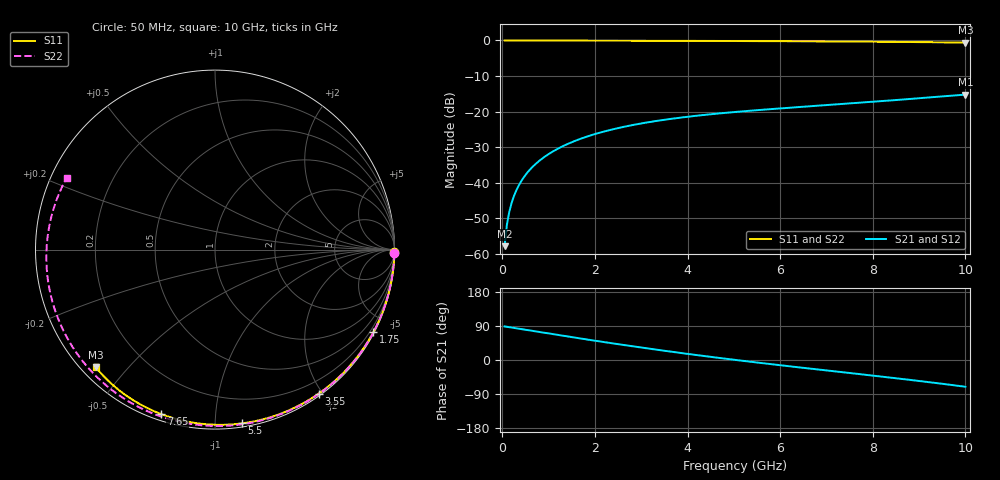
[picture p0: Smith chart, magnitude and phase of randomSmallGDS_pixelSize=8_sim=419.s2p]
! freq	dB(S11)	phase(S11)	dB(S12)	phase(S12)
!  dB(S21)	phase(S21)	dB(S22)	phase(S22)
!S-par simulation data
#  GHz  S  DB  R 50
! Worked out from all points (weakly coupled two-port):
!   200 points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, 50 MHz to 10 GHz, reference 50 ohm
!   highest |S21| = -15.22 dB at 10 GHz (marker M1); lowest = -57.8 dB at 50 MHz (marker M2)
!   lowest |S11| = -0.6 dB at 10 GHz (marker M3), VSWR 28.92, Z = 2.02 - j20.4 ohm
!   |S11| at or under -10 dB: nowhere
!   |S22| runs from -0.7 to 0.0 dB; largest |S21 - S12| = 0
!   S11 on the Smith chart (normalised r, x): 50 MHz: open; 1.75 GHz: 0.04, -4.09; 3.55 GHz: 0.03, -1.95; 5.5 GHz: 0.02, -1.17; 7.65 GHz: 0.03, -0.73; 10 GHz: 0.04, -0.41
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0.05  -0.00 -0.8  -57.80 88.6  -57.80 88.6  -0.00 -1.2
0.1  -0.00 -1.6  -51.73 87.6  -51.73 87.6  -0.00 -2.4
0.15  -0.00 -2.4  -48.20 86.7  -48.20 86.7  -0.00 -3.6
0.2  -0.00 -3.2  -45.70 85.8  -45.70 85.8  -0.01 -4.8
0.25  -0.01 -4.0  -43.77 84.8  -43.77 84.8  -0.01 -6.0
0.35  -0.01 -5.6  -40.87 82.9  -40.87 82.9  -0.01 -8.4
0.5  -0.01 -7.9  -37.81 79.8  -37.81 79.8  -0.02 -11.9
0.7  -0.02 -11.1  -34.94 75.8  -34.94 75.8  -0.02 -16.7
1  -0.02 -15.8  -31.93 69.9  -31.93 69.9  -0.03 -23.8
1.35  -0.03 -21.3  -29.45 63.2  -29.45 63.2  -0.04 -31.9
1.75  -0.04 -27.5  -27.35 55.6  -27.35 55.6  -0.06 -41.1
2.6  -0.07 -40.4  -24.34 40.0  -24.34 40.0  -0.09 -60.0
3.4  -0.09 -52.1  -22.48 26.1  -22.48 26.1  -0.12 -77.1
3.55  -0.10 -54.3  -22.19 23.5  -22.19 23.5  -0.13 -80.2
4.3  -0.12 -64.9  -21.00 11.4  -21.00 11.4  -0.16 -95.3
5.05  -0.15 -75.1  -20.07 -0.1  -20.07 -0.1  -0.20 -109.9
5.5  -0.18 -81.1  -19.59 -6.7  -19.59 -6.7  -0.23 -118.5
6.7  -0.24 -96.5  -18.44 -23.4  -18.44 -23.4  -0.32 -140.8
7.65  -0.32 -108.1  -17.56 -36.4  -17.56 -36.4  -0.41 -158.4
8.35  -0.38 -116.4  -16.89 -46.0  -16.89 -46.0  -0.49 -171.8
9.2  -0.48 -126.3  -16.03 -58.2  -16.03 -58.2  -0.61 171.3
10  -0.60 -135.5  -15.22 -70.6  -15.22 -70.6  -0.74 154.3
